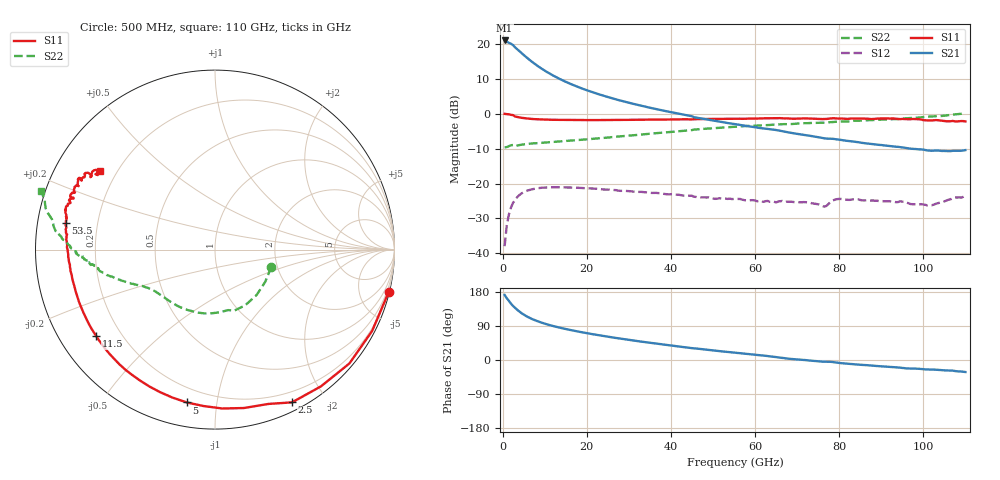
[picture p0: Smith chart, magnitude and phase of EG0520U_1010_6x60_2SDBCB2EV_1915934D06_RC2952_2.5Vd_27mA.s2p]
!File name = EG0520U_1010_6x60_2SDBCB2EV_1915934D06_RC2952_2.5Vd_27mA.s2p
!Base file name = EG0520U_1010_6x60_2SDBCB2EV_1915934D06_RC2952
!Date = 8/23/2019
!Time = 1:13 PM
!Test duration(min) = 0.15
!Test = S-Parameters
!MPTS version = 8.91.5
!State File = C:\Data\PNA\20190821205423\S-Parameters_2019-08-23.sta
!Cal File =
!ComputerName = CMPE-LAB-6
!Comments =
!Attenuation = 0
!Z0 = 50
!Input Power(dBm) = -13.00
!Device ID = EG0520U_1010_6x60_2SDBCB2EV
!Row = 29
!Column = 52
!Technology = QPHT09
!Lot/Wafer = 1915934D06
!Gate Size = 360
!Mask = EG0520
!Cal Standards = GaAs BCB
!Cal Kit = EG2306
!Job Number = 20190821205423
!Device Type = FET
!set_Vg(v) = -1.500
!set_Vd(v) = 2.500
!set_Vd(mA) = 27.000
!file_name = EG0520U_1010_6x60_2SDBCB2EV_1915934D06_RC2952_2.5Vd_27mA.s2p
!Vd(V) = 2.500
!Vd(mA) = 26.997
!Vg(V) = -0.539
!Vg(mA) = -0.001
# GHz  S  DB  R  50
!%	Freq(GHz)  s11(dB)  s11(deg)  s21(dB)  s21(deg)  s12(dB)  s12(deg)  s22(dB)  s22(deg)
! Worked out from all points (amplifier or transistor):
!   220 points, 500 MHz to 110 GHz, reference 50 ohm
!   highest |S21| = 21.0 dB at 500 MHz (marker M1)
!   |S21| within 3 dB of that: start of sweep to 3.966 GHz
!   unconditionally stable (mu >= 1): 37.01 GHz to 103.4 GHz
!   at 18.5 GHz: K = 0.49, MSG = 14.3 dB, |S12| = -21.2 dB
!   at 55.5 GHz: K = 1.41, MAG = 6.9 dB, |S12| = -24.4 dB
!   at 110 GHz: K = -1.27, MSG = 6.5 dB, |S12| = -23.5 dB
!   S11 on the Smith chart (normalised r, x): 500 MHz: 0.15, -8.24; 2.5 GHz: 0.09, -1.62; 5 GHz: 0.12, -0.82; 11.5 GHz: 0.11, -0.32; 53.5 GHz: 0.08, +0.09; 110 GHz: 0.14, +0.30
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0.5  -0.04 -13.8  20.96 171.6  -37.92 81.5  -9.68 -17.1
1  -0.12 -27.4  20.62 163.1  -32.14 74.2  -9.56 -32.7
2  -0.32 -52.2  20.04 148.9  -26.91 60.2  -9.04 -61.5
2.5  -0.42 -63.2  19.64 142.6  -25.52 54.5  -8.95 -72.7
3  -0.82 -70.8  18.97 137.5  -24.67 50.2  -9.24 -77.6
3.5  -0.94 -79.6  18.47 132.4  -23.89 45.7  -9.11 -85.9
4.5  -1.17 -94.3  17.38 123.8  -22.84 38.2  -8.86 -99.7
5  -1.25 -100.5  16.85 120.2  -22.48 35.0  -8.79 -105.2
6  -1.40 -111.2  15.83 113.7  -21.97 29.8  -8.65 -114.2
7.5  -1.54 -123.4  14.40 105.9  -21.52 23.7  -8.47 -124.0
9.5  -1.66 -135.1  12.73 97.8  -21.18 17.7  -8.32 -132.2
11.5  -1.74 -143.8  11.28 91.2  -21.08 13.2  -8.16 -138.2
14.5  -1.79 -153.2  9.43 83.0  -21.10 8.2  -7.88 -144.0
19  -1.83 -162.7  7.16 72.9  -21.28 3.0  -7.44 -149.2
26.5  -1.79 -172.6  4.26 58.9  -21.84 -2.0  -6.64 -154.5
37  -1.67 179.0  1.20 42.4  -22.73 -4.9  -5.53 -160.1
53.5  -1.47 169.7  -2.67 21.2  -24.40 -6.0  -3.85 -168.7
55.5  -1.47 168.5  -3.03 18.9  -24.38 -6.0  -3.68 -169.7
73.5  -1.41 160.4  -6.42 -1.9  -25.64 -9.0  -2.61 -176.5
92  -1.39 152.1  -9.25 -18.2  -25.06 -18.5  -1.61 176.9
102  -1.94 149.1  -10.62 -25.3  -26.20 -17.7  -0.80 170.9
110  -2.23 145.6  -10.42 -31.7  -23.46 -19.7  0.21 161.4
